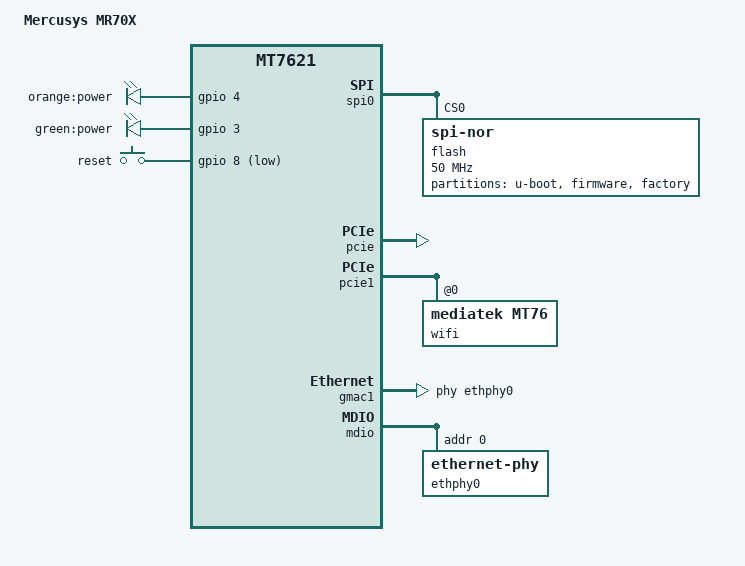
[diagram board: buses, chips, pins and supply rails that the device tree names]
// SPDX-License-Identifier: GPL-2.0-or-later OR MIT

#include "mt7621.dtsi"

#include <dt-bindings/gpio/gpio.h>
#include <dt-bindings/input/input.h>
#include <dt-bindings/leds/common.h>

/ {
	compatible = "mercusys,mr70x", "mediatek,mt7621-soc";
	model = "Mercusys MR70X";

	aliases {
		led-boot = &led_orange;
		led-failsafe = &led_orange;
		led-running = &led_orange;
		led-upgrade = &led_orange;
		label-mac-device = &gmac0;
	};

	chosen {
		bootargs = "console=ttyS0,115200";
		bootargs-override = "console=ttyS0,115200";
	};

	leds {
		compatible = "gpio-leds";

		led_orange: power_orange {
			label = "orange:power";
			gpios = <&gpio 4 GPIO_ACTIVE_HIGH>;
		};

		led_green: power_green {
			label = "green:power";
			gpios = <&gpio 3 GPIO_ACTIVE_HIGH>;
		};
	};

	keys {
		compatible = "gpio-keys";

		key-restart {
			label = "reset";
			gpios = <&gpio 8 GPIO_ACTIVE_LOW>;
			debounce-interval = <60>;
			linux,code = <KEY_RESTART>;
		};
	};
};

&spi0 {
	status = "okay";

	flash@0 {
		compatible = "jedec,spi-nor";
		reg = <0>;
		spi-max-frequency = <50000000>;

		partitions {
			compatible = "fixed-partitions";
			#address-cells = <1>;
			#size-cells = <1>;

			partition@0 {
				label = "u-boot";
				reg = <0x0 0x40000>;
				read-only;
			};

			partition@40000 {
				compatible = "denx,uimage";
				label = "firmware";
				reg = <0x40000 0xf60000>;
			};

			factory: partition@fa0000 {
				label = "factory";
				reg = <0xfa0000 0x60000>;
				read-only;
				
				compatible = "nvmem-cells";
				#address-cells = <1>;
				#size-cells = <1>;

				macaddr_factory_8: macaddr@8 {
					reg = <0x8 0x6>;
				};
			};
		};
	};
};

&pcie {
	status = "okay";
};

&pcie1 {
	wifi@0,0 {
		compatible = "mediatek,mt76";
		reg = <0x0000 0 0 0 0>;
		mediatek,mtd-eeprom = <&factory 0x50000>;
		mediatek,disable-radar-background;
	};
};

&gmac0 {
	nvmem-cells = <&macaddr_factory_8>;
	nvmem-cell-names = "mac-address";
	mac-address-increment = <1>;
};

&gmac1 {
	status = "okay";
	label = "wan";
	phy-handle = <&ethphy0>;

	nvmem-cells = <&macaddr_factory_8>;
	nvmem-cell-names = "mac-address";
	mac-address-increment = <2>;
};

&mdio {
	ethphy0: ethernet-phy@0 {
		reg = <0>;
	};
};

&switch0 {
	ports {
		port@1 {
			status = "okay";
			label = "lan1";
		};

		port@2 {
			status = "okay";
			label = "lan2";
		};

		port@3 {
			status = "okay";
			label = "lan3";
		};
	};
};

&state_default {
	gpio {
		groups = "i2c", "uart2", "uart3", "jtag", "wdt";
		function = "gpio";
	};
};
